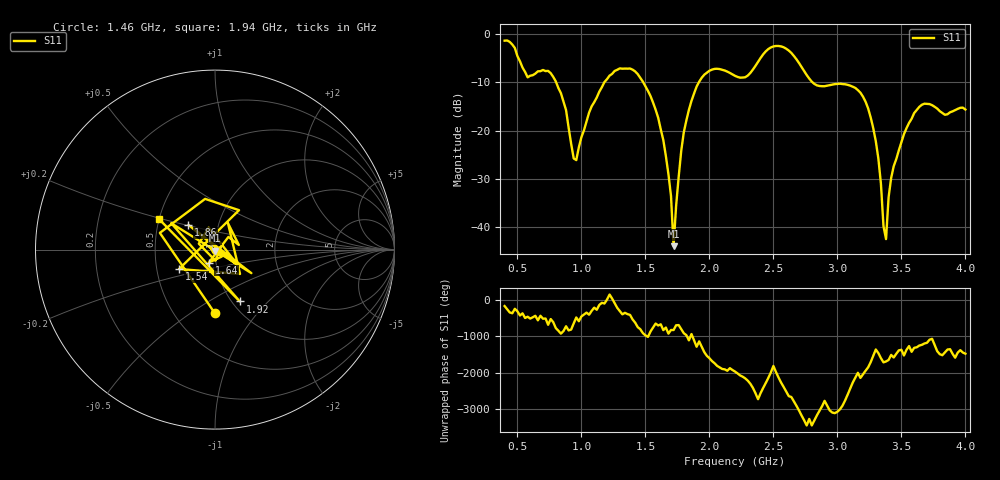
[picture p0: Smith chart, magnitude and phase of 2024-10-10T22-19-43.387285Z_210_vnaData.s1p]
! Created with skrf (http://scikit-rf.org).
# Hz S RI R 50.0
!freq ReS11 ImS11
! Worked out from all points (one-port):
!   181 points, 400 MHz to 4 GHz, reference 50 ohm
!   lowest |S11| = -44.0 dB at 1.72 GHz (marker M1), VSWR 1.01, Z = 49.7 - j0.577 ohm
!   |S11| at or under -10 dB: 802.5 MHz to 1.179 GHz (376.8 MHz wide, 38 % of centre); 1.483 GHz to 1.918 GHz (435 MHz wide, 25.6 % of centre); 2.805 GHz to end of sweep
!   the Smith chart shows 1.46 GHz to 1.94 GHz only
!   S11 on the Smith chart (normalised r, x): 1.46 GHz: 0.78, -0.62; 1.54 GHz: 0.65, -0.15; 1.64 GHz: 0.93, -0.13; 1.86 GHz: 0.72, +0.21; 1.92 GHz: 1.09, -0.70; 1.94 GHz: 0.50, +0.19
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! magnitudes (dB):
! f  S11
! 400 MHz  -1.4
! 580 MHz  -9.0
! 760 MHz  -8.1
! 860 MHz  -14.0
! 960 MHz  -26.1
! 1.08 GHz  -15.0
! 1.3 GHz  -7.1
! 1.46 GHz  -9.1
! 1.54 GHz  -12.9
! 1.64 GHz  -22.0
! 1.7 GHz  -33.6
! 1.72 GHz  -44.0
! 1.76 GHz  -29.6
! 1.8 GHz  -20.4
! 1.86 GHz  -13.9
! 1.92 GHz  -9.9
! 1.94 GHz  -9.1
! 2.2 GHz  -8.7
! 2.5 GHz  -2.6
! 2.66 GHz  -4.6
! 2.84 GHz  -10.6
! 3.1 GHz  -10.7
! 3.28 GHz  -19.5
! 3.38 GHz  -42.5
! 3.42 GHz  -29.8
! 3.56 GHz  -18.4
! 3.68 GHz  -14.4
! 4 GHz  -15.6
